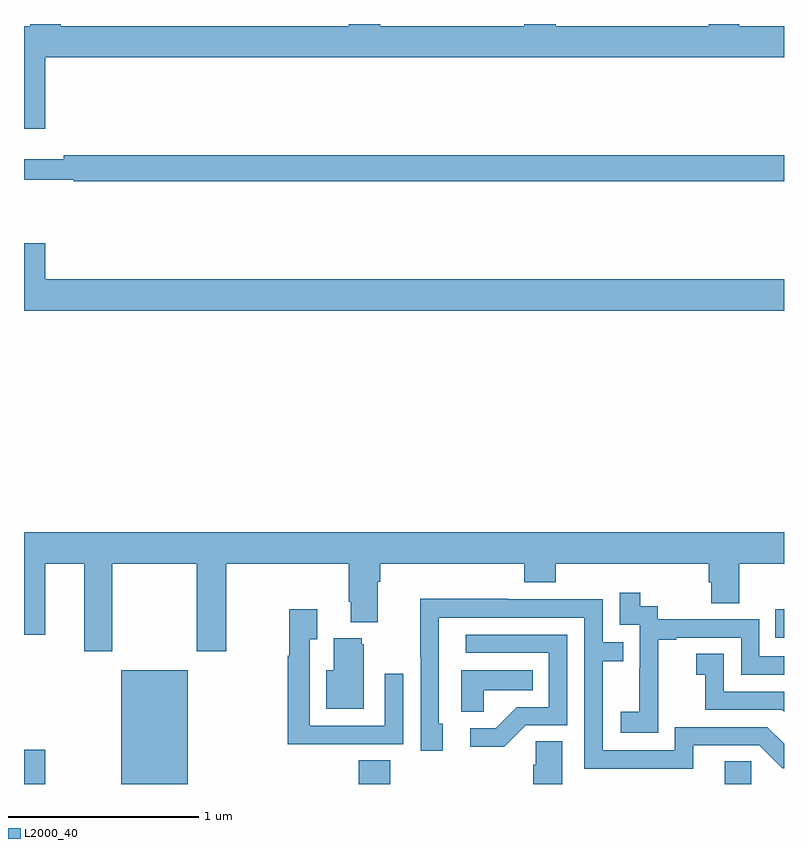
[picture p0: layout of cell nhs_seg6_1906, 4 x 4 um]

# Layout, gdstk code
import gdstk
lib = gdstk.Library(unit=1e-6, precision=1e-09)
def R(c, l, rs):  # rectangles x0, y0, x1, y1
    for r in rs: c.add(gdstk.rectangle(r[:2], r[2:], *l))
def P(c, l, *ps):  # polygons
    for p in ps: c.add(gdstk.Polygon(p, *l))
L2000_40 = (2000, 40)

nhs_seg6_1906 = lib.new_cell('nhs_seg6_1906')
R(nhs_seg6_1906, L2000_40, [(225,955.5,225.112,955.681), (225.512,955.5,225.862,956.098), (226.763,955.5,226.928,955.625), (228.689,955.5,228.828,955.619), (228.955,956.271,229,956.419)])
P(nhs_seg6_1906, L2000_40, [(225.112,959.324),(229,959.324),(229,959.488),(228.765,959.488),(228.765,959.5),(228.605,959.5),(228.605,959.488),(227.798,959.488),(227.798,959.5),(227.633,959.5),(227.633,959.488),(226.874,959.488),(226.874,959.5),(226.709,959.5),(226.709,959.488),(225.194,959.488),(225.194,959.5),(225.034,959.5),(225.034,959.488),(225,959.488),(225,958.95),(225.112,958.95)],
  [(229,958.808),(225.208,958.808),(225.208,958.789),(225,958.789),(225,958.68),(225.262,958.68),(225.262,958.672),(229,958.672)],
  [(229,958.156),(225.112,958.156),(225.112,958.345),(225,958.345),(225,957.992),(229,957.992)],
  [(225.465,956.66),(225.91,956.66),(225.91,956.199),(226.065,956.199),(226.065,956.66),(226.709,956.66),(226.709,956.458),(226.721,956.458),(226.721,956.351),(226.861,956.351),(226.861,956.564),(226.874,956.564),(226.874,956.66),(227.633,956.66),(227.633,956.561),(227.798,956.561),(227.798,956.66),(228.605,956.66),(228.605,956.562),(228.617,956.562),(228.617,956.452),(228.765,956.452),(228.765,956.66),(229,956.66),(229,956.824),(225,956.824),(225,956.286),(225.112,956.286),(225.112,956.66),(225.317,956.66),(225.317,956.199),(225.465,956.199)],
  [(228.339,955.975),(228.338,955.975),(228.338,956.259),(228.433,956.259),(228.433,956.271),(228.774,956.271),(228.774,956.076),(229,956.076),(229,956.172),(228.87,956.172),(228.87,956.367),(228.336,956.367),(228.336,956.436),(228.244,956.436),(228.244,956.506),(228.135,956.506),(228.135,956.337),(228.24,956.337),(228.24,956.108),(228.239,956.108),(228.239,955.879),(228.141,955.879),(228.141,955.769),(228.339,955.769)],
  [(228.523,955.704),(228.87,955.704),(228.99,955.584),(229,955.584),(229,955.712),(228.912,955.8),(228.426,955.8),(228.426,955.677),(228.045,955.677),(228.045,956.146),(228.155,956.146),(228.155,956.247),(228.045,956.247),(228.045,956.472),(227.549,956.472),(227.549,956.474),(227.086,956.474),(227.086,956.167),(227.088,956.167),(227.088,955.674),(227.203,955.674),(227.203,955.818),(227.184,955.818),(227.184,956.376),(227.949,956.376),(227.949,955.581),(228.523,955.581)],
  [(226.679,955.71),(226.995,955.71),(226.995,956.08),(226.899,956.08),(226.899,955.806),(226.503,955.806),(226.503,956.263),(226.543,956.263),(226.543,956.419),(226.395,956.419),(226.395,956.174),(226.387,956.174),(226.387,955.709),(226.679,955.709)],
  [(227.64,955.809),(227.859,955.809),(227.859,956.286),(227.325,956.286),(227.325,956.19),(227.763,956.19),(227.763,955.905),(227.594,955.905),(227.483,955.794),(227.349,955.794),(227.349,955.697),(227.527,955.697)],
  [(226.789,956.235),(226.778,956.235),(226.778,956.266),(226.631,956.266),(226.631,956.098),(226.592,956.098),(226.592,955.895),(226.789,955.895)],
  [(229,955.986),(228.684,955.986),(228.684,956.185),(228.537,956.185),(228.537,956.075),(228.586,956.075),(228.586,955.89),(228.989,955.89),(229,955.879)],
  [(227.421,955.994),(227.678,955.994),(227.678,956.098),(227.3,956.098),(227.3,955.879),(227.421,955.879)],
  [(227.833,955.724),(227.694,955.724),(227.694,955.601),(227.681,955.601),(227.681,955.5),(227.833,955.5)])

lib.write_gds('nhs_seg6_1906.gds')
